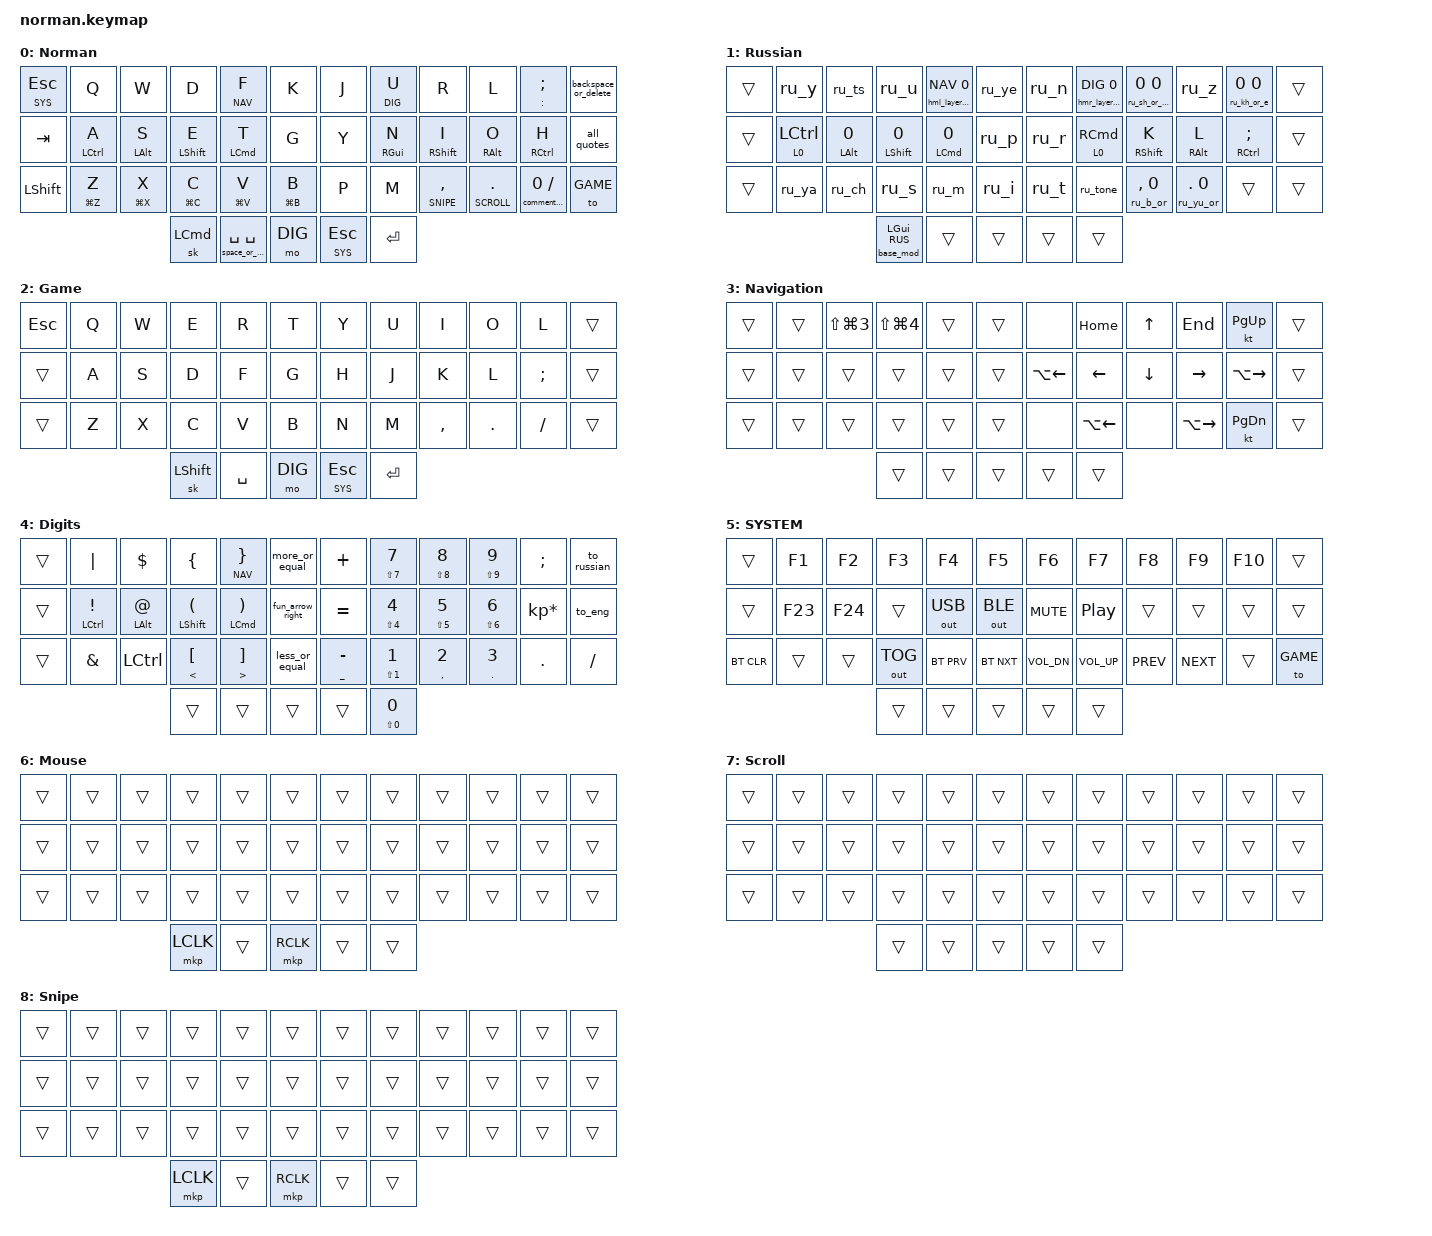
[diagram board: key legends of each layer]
#include <behaviors.dtsi>
#include <dt-bindings/zmk/bt.h>
#include <dt-bindings/zmk/keys.h>
#include <dt-bindings/zmk/mouse.h>
#include <dt-bindings/zmk/outputs.h>
#include <behaviors/mouse_keys.dtsi>
#include <dt-bindings/zmk/ext_power.h>
#include <input/processors.dtsi>
#include <dt-bindings/zmk/input_transform.h>
#include <zephyr/dt-bindings/input/input-event-codes.h>


/* local overlays */
#include "keymap_features/macros.dtsi"
#include "keymap_features/behaviors.dtsi"
#include "keymap_features/combos.dtsi"
#include "keymap_features/cyrillic_behavior.dtsi"
#include "keymap_features/cyrillic_combos.dtsi"

#define HOST_OS 2
#define QUICK_TAP_MS 175
#include "zmk-helpers/helper.h"
#include "zmk-helpers/key-labels/42.h"
#include "zmk-helpers/unicode-chars/russian.dtsi"

#define BASE 0
#define RUS  1
#define GAME 2
#define NAV  3
#define DIG  4
#define SYS  5
#define MOUSE  6
#define SCROLL 7
#define SNIPE 8


#define XXX &none
#define ___ &trans


&sk {  // sticky-key config
    release-after-ms = <900>;  // release after 0.9s
    quick-release;             // no double capitalization when rolling keys
};

&sl {  // sticky-layer config
    ignore-modifiers;          // allow chording sticky mods & layers
};

&lt {  // layer-tap config
    flavor = "balanced";
    tapping-term-ms = <200>;
    quick-tap-ms = <QUICK_TAP_MS>;
};

&mt {  // mod-tap config}
    flavor = "balanced";
    tapping-term-ms = <200>;
    quick-tap-ms = <QUICK_TAP_MS>;
};

/ {

/*                                      42 KEY MATRIX / LAYOUT MAPPING

  ╭────────────────────────┬────────────────────────╮ ╭─────────────────────────┬─────────────────────────╮
  │  0   1   2   3   4   5 │  6   7   8   9  10  11 │ │ LT5 LT4 LT3 LT2 LT1 LT0 │ RT0 RT1 RT2 RT3 RT4 RT5 │
  │ 12  13  14  15  16  17 │ 18  19  20  21  22  23 │ │ LM5 LM4 LM3 LM2 LM1 LM0 │ RM0 RM1 RM2 RM3 RM4 RM5 │
  │ 24  25  26  27  28  29 │ 30  31  32  33  34  35 │ │ LB5 LB4 LB3 LB2 LB1 LB0 │ RB0 RB1 RB2 RB3 RB4 RB5 │
  ╰───────────╮ 36  37  38 │ 39  40  41 ╭───────────╯ ╰───────────╮ LH2 LH1 LH0 │ RH0 RH1 RH2 ╭───────────╯
              ╰────────────┴────────────╯                         ╰─────────────┴─────────────╯             */

    keymap {
        compatible = "zmk,keymap";

        BASE {
            label = "Norman";
            bindings = <
// ╭────────────────┬──────────────────┬─────────────────────────┬─────────────────────────────┬──────────────────────────────┬──────────────╮  ╭──────────────┬─────────────────┬──────────────────────────────────┬──────────────────────────────┬────────────────────────┬─────────╮
    &lt SYS ESC       &kp Q               &kp W                    &kp D                         &hml_layer NAV F               &kp K             &kp J          &lt DIG U         &kp R                          &kp L                          &mt COLON SEMICOLON      &backspace_or_delete
// ├────────────────┼──────────────────┼─────────────────────────┼─────────────────────────────┼──────────────────────────────┼──────────────┤  ├──────────────┼─────────────────┼──────────────────────────────────┼──────────────────────────────┼────────────────────────┼─────────┤
    &kp TAB           &ht_left LCTRL A   &ht_left LALT S           &ht_left LSHFT E              &ht_left LEFT_COMMAND T        &kp G             &kp Y          &ht_right RIGHT_GUI N  &ht_right RSHFT I             &ht_right RIGHT_ALT O          &ht_right RIGHT_CONTROL H     &all_quotes
// ├────────────────┼──────────────────┼─────────────────────────┼─────────────────────────────┼──────────────────────────────┼──────────────┤  ├──────────────┼─────────────────┼──────────────────────────────────┼──────────────────────────────┼────────────────────────┼─────────┤
    &kp LSHFT         &mt LG(Z) Z        &mt LG(X) X               &mt LG(C) C                   &mt LG(V) V                    &mt LG(B) B       &kp P          &kp M             &hmr_layer SNIPE COMMA             &hmr_layer SCROLL DOT          &comment_or 0 SLASH      &to GAME
// ╰────────────────┴──────────────────┴─────────────────────────┼─────────────────────────────┼──────────────────────────────┼──────────────┤  ├──────────────┼─────────────────┼──────────────────────────────────┴──────────────────────────────┴────────────────────────┴─────────╯
                                                                   &sk LEFT_COMMAND              &space_or_super SPACE SPACE    &mo DIG           &lt SYS ESC    &kp RET
//                                                               ╰─────────────────────────────┴──────────────────────────────┴──────────────╯  ╰──────────────┴─────────────────╯
            >;
        };

/*
           й  ц  у  к  е     н  г   шщ  з  хэ
           ф! ы! в! а! п     р  о!  л!  д! ж!
           я  ч  с  м  и     т  ьъ  б,  ю. /*
*/

        rus {
            label = "Russian";
            bindings = <
// ╭────────────────┬───────────────────┬─────────────────┬───────────────────┬────────────────────────┬─────────────╮     ╭─────────────┬──────────────────────────┬───────────────────────┬───────────────────────┬───────────────────────────────────┬─────────╮
     ___              &ru_y               &ru_ts            &ru_u               &hml_layer_ru NAV 0      &ru_ye              &ru_n         &hmr_layer_dig_or_g DIG 0  &ru_sh_or_shch 0 0      &ru_z                   &ru_kh_or_e 0 0                     ___
// ├────────────────┼───────────────────┼─────────────────┼───────────────────┼────────────────────────┼─────────────┤     ├─────────────┼──────────────────────────┼───────────────────────┼───────────────────────┼───────────────────────────────────┼─────────┤
     ___              &hml_ctrl 0 LCTRL   &hml_opt LALT 0   &hml_shift LSHFT 0  &hml_cmd LEFT_COMMAND 0  &ru_p               &ru_r         &hmr_cmd 0 RIGHT_COMMAND   &hmr_shift RSHFT K      &hmr_opt RIGHT_ALT L    &hmr_ctrl RIGHT_CONTROL SEMICOLON   ___
// ├────────────────┼───────────────────┼─────────────────┼───────────────────┼────────────────────────┼─────────────┤     ├─────────────┼──────────────────────────┼───────────────────────┼───────────────────────┼───────────────────────────────────┼─────────┤
     ___              &ru_ya              &ru_ch            &ru_s               &ru_m                    &ru_i               &ru_t         &ru_tone                   &ru_b_or COMMA 0        &ru_yu_or DOT 0         ___                                 ___
// ╰────────────────┴───────────────────┴─────────────────┼───────────────────┼────────────────────────┼─────────────┤     ├─────────────┼──────────────────────────┼───────────────────────┼───────────────────────┴───────────────────────────────────┴─────────╯
                                                            &base_mod LGUI RUS   ___                    ___                 ___           ___
//                                                        ╰───────────────────┴────────────────────────┴─────────────╯     ╰─────────────┴──────────────────────────╯
            >;
        };

        GAME {
            label = "Game";
            bindings = <
// ╭────────────────┬──────────────┬─────────────────────────┬─────────────────────────────┬──────────────────┬──────────────╮  ╭──────────────┬─────────────────┬──────────────────────────────────┬──────────────────────────────┬────────────────────────┬─────────╮
    &kp ESC           &kp Q          &kp W                     &kp E                         &kp R              &kp T             &kp Y          &kp U             &kp I                              &kp O                          &kp L                    ___
// ├────────────────┼──────────────┼─────────────────────────┼─────────────────────────────┼──────────────────┼──────────────┤  ├──────────────┼─────────────────┼──────────────────────────────────┼──────────────────────────────┼────────────────────────┼─────────┤
    ___               &kp A          &kp S                     &kp D                         &kp F              &kp G             &kp H          &kp J             &kp K                              &kp L                          &kp SEMICOLON            ___
// ├────────────────┼──────────────┼─────────────────────────┼─────────────────────────────┼──────────────────┼──────────────┤  ├──────────────┼─────────────────┼──────────────────────────────────┼──────────────────────────────┼────────────────────────┼─────────┤
    ___               &kp Z          &kp X                     &kp C                         &kp V              &kp B             &kp N          &kp M             &kp COMMA                          &kp DOT                        &kp SLASH                ___
// ╰────────────────┴──────────────┴─────────────────────────┼─────────────────────────────┼──────────────────┼──────────────┤  ├──────────────┼─────────────────┼──────────────────────────────────┴──────────────────────────────┴────────────────────────┴─────────╯
                                                               &sk LSHFT                    &kp SPACE          &mo DIG           &lt SYS ESC    &kp RET
//                                                           ╰─────────────────────────────┴──────────────────┴──────────────╯  ╰──────────────┴─────────────────╯
            >;
        };

        Navigation {
            label = "Navigation";
            bindings = <
// ╭────────────────┬──────────────┬───────────────────────┬──────────────────────┬───────────────────┬─────────────╮        ╭─────────────┬──────────────────┬──────────────┬──────────────────┬──────────────────────┬─────────╮
     ___              ___            &kp LS(LG(NUMBER_3))    &kp LS(LG(NUMBER_4))   ___                 ___                    &none         &kp HOME           &kp UP         &kp END            &kt PAGE_UP            ___
// ├────────────────┼──────────────┼───────────────────────┼──────────────────────┼───────────────────┼─────────────┤        ├─────────────┼──────────────────┼──────────────┼──────────────────┼──────────────────────┼─────────┤
     ___              ___            ___                     ___                    ___                 ___                    &kp LA(LEFT)  &kp LEFT           &kp DOWN       &kp RIGHT          &kp LA(RIGHT)          ___
// ├────────────────┼──────────────┼───────────────────────┼──────────────────────┼───────────────────┼─────────────┤        ├─────────────┼──────────────────┼──────────────┼──────────────────┼──────────────────────┼─────────┤
     ___              ___            ___                     ___                    ___                 ___                    &none         &kp LA(LEFT)       &none          &kp LA(RIGHT)      &kt PAGE_DOWN          ___
// ╰────────────────┴──────────────┴───────────────────────┼──────────────────────┼───────────────────┼─────────────┤        ├─────────────┼──────────────────┼──────────────┼──────────────────┴──────────────────────┴─────────╯
                                                             ___                    ___                 ___                    ___           ___
//                                                         ╰──────────────────────┴───────────────────┴─────────────╯        ╰─────────────┴──────────────────╯
            >;
        };


        digits {
            label = "Digits";
            bindings = <
// ╭────────────────┬────────────────────────────┬──────────────────────────┬────────────────────────────────┬──────────────────────────────┬────────────────────────────────────╮        ╭────────────────┬──────────────────┬──────────────┬──────────────────┬──────────────────────┬─────────╮
     ___              &kp PIPE                     &kp DOLLAR                 &kp LEFT_BRACE                   &lt NAV RIGHT_BRACE                &more_or_equal                             &kp PLUS         &mt LS(N7) N7     &mt LS(N8) N8  &mt LS(N9) N9      &kp SEMICOLON         &to_russian
// ├────────────────┼────────────────────────────┼──────────────────────────┼────────────────────────────────┼──────────────────────────────┼────────────────────────────────────┤        ├────────────────┼──────────────────┼──────────────┼──────────────────┼──────────────────────┼─────────┤
     ___              &ht_left LCTRL EXCLAMATION   &ht_left LEFT_ALT AT_SIGN  &ht_left LSHFT LEFT_PARENTHESIS  &ht_left LEFT_COMMAND RIGHT_PARENTHESIS      &fun_arrow_right                 &kp EQUAL        &mt LS(N4) N4     &mt LS(N5) N5  &mt LS(N6) N6      &kp KP_MULTIPLY       &to_eng
// ├────────────────┼────────────────────────────┼──────────────────────────┼────────────────────────────────┼──────────────────────────────┼────────────────────────────────────┤        ├────────────────┼──────────────────┼──────────────┼──────────────────┼──────────────────────┼─────────┤
     ___              &kp AMPERSAND                &kp LCTRL                  &mt LESS_THAN LEFT_BRACKET       &mt GREATER_THAN RIGHT_BRACKET &less_or_equal                                 &mt UNDER MINUS  &mt LS(N1) N1     &mt COMMA N2   &mt PERIOD N3      &kp PERIOD            &kp SLASH
// ╰────────────────┴────────────────────────────┴──────────────────────────┼────────────────────────────────┼──────────────────────────────┼────────────────────────────────────┤        ├────────────────┼──────────────────┼──────────────┼──────────────────┴──────────────────────┴─────────╯
                                                                      ___                           ___                          ___                                            ___              &mt LS(N0) N0
//                                                                  ╰────────────────────────────┴──────────────────────────────┴────────────────────────────────────╯        ╰────────────────┴──────────────────╯
            >;
        };

         sim_layer {
             label = "SYSTEM";
             bindings = <
// ╭────────────────┬─────────┬─────────┬──────────────┬────────────┬─────────────╮        ╭─────────────┬──────────────┬────────────┬────────────┬──────────┬─────────╮
     ___              &kp F1    &kp F2    &kp F3         &kp F4       &kp F5                 &kp F6        &kp F7         &kp F8       &kp F9       &kp F10    ___
// ├────────────────┼─────────┼─────────┼──────────────┼────────────┼─────────────┤        ├─────────────┼──────────────┼────────────┼────────────┼──────────┼─────────┤
     ___              &kp F23   &kp F24     ___         &out OUT_USB &out OUT_BLE           &kp C_MUTE    &kp C_PP       ___          ___          ___       ___
// ├────────────────┼─────────┼─────────┼──────────────┼────────────┼─────────────┤        ├─────────────┼──────────────┼────────────┼────────────┼──────────┼─────────┤
     &bt BT_CLR       ___      ___        &out OUT_TOG   &bt BT_PRV   &bt BT_NXT             &kp C_VOL_DN  &kp C_VOL_UP   &kp C_PREV   &kp C_NEXT   ___        &to GAME
 // ╰───────────────┴─────────┴─────────┼──────────────┼────────────┼─────────────┤        ├─────────────┼──────────────┼────────────┼────────────┴──────────┴──────────╯
                                           ___            ___          ___                    ___           ___
 //                                     ╰──────────────┴────────────┴─────────────╯        ╰─────────────┴──────────────╯
             >;
         };

        AUTO-MOUSE {
            label = "Mouse";
            bindings = <
&trans  &trans  &trans  &trans     &trans  &trans       &trans  &trans  &trans  &trans  &trans  &trans
&trans  &trans  &trans  &trans     &trans  &trans       &trans  &trans  &trans  &trans  &trans  &trans
&trans  &trans  &trans  &trans     &trans  &trans       &trans  &trans  &trans  &trans  &trans  &trans
                        &mkp LCLK  &trans  &mkp RCLK    &trans  &trans
            >;
        };

        SCROLL {
            label = "Scroll";
            bindings = <
&trans  &trans  &trans  &trans  &trans  &trans    &trans  &trans  &trans  &trans  &trans  &trans
&trans  &trans  &trans  &trans  &trans  &trans    &trans  &trans  &trans  &trans  &trans  &trans
&trans  &trans  &trans  &trans  &trans  &trans    &trans  &trans  &trans  &trans  &trans  &trans
                        &trans  &trans  &trans    &trans  &trans
            >;
        };

        SNIPE {
            label = "Snipe";
            bindings = <
&trans  &trans  &trans  &trans  &trans  &trans    &trans  &trans  &trans  &trans  &trans  &trans
&trans  &trans  &trans  &trans  &trans  &trans    &trans  &trans  &trans  &trans  &trans  &trans
&trans  &trans  &trans  &trans  &trans  &trans    &trans  &trans  &trans  &trans  &trans  &trans
                        &mkp LCLK  &trans  &mkp RCLK    &trans  &trans
            >;
        };
    };

};
